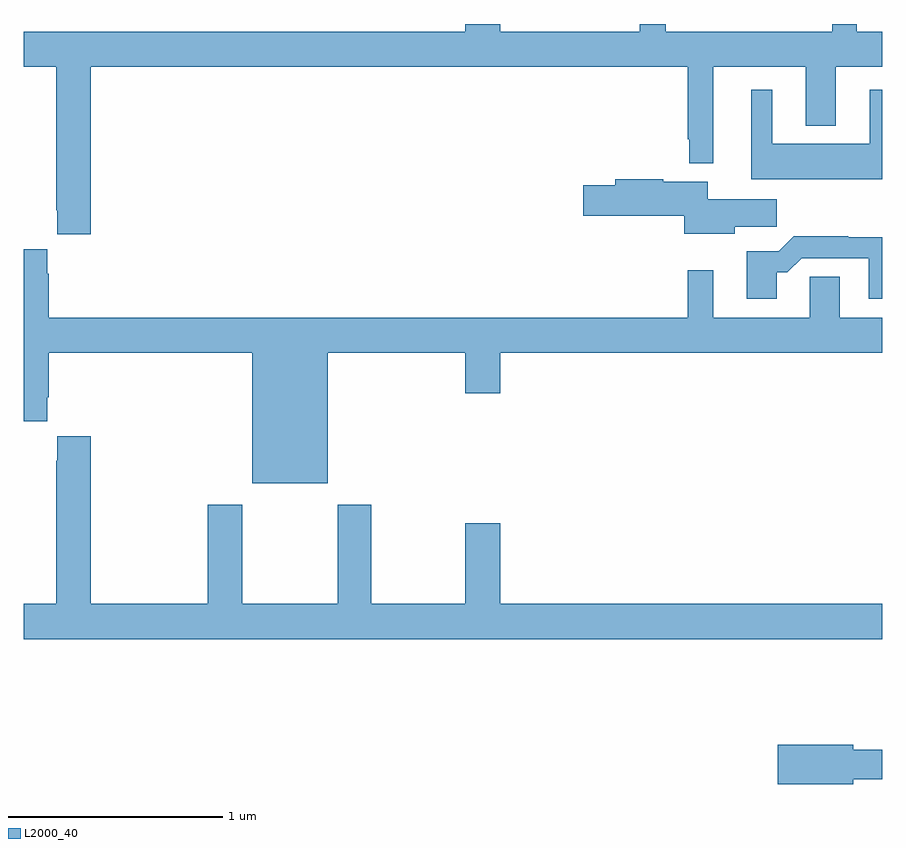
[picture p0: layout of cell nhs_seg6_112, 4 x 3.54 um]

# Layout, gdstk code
import gdstk
lib = gdstk.Library(unit=1e-6, precision=1e-09)
def P(c, l, *ps):  # polygons
    for p in ps: c.add(gdstk.Polygon(p, *l))
L2000_40 = (2000, 40)

nhs_seg6_112 = lib.new_cell('nhs_seg6_112')
P(nhs_seg6_112, L2000_40, [(115.313,983.3),(118.092,983.3),(118.092,982.963),(118.099,982.963),(118.099,982.851),(118.213,982.851),(118.213,983.3),(118.643,983.3),(118.643,983.027),(118.783,983.027),(118.783,983.3),(119,983.3),(119,983.464),(118.879,983.464),(118.879,983.5),(118.765,983.5),(118.765,983.464),(117.991,983.464),(117.991,983.5),(117.87,983.5),(117.87,983.464),(117.22,983.464),(117.22,983.5),(117.056,983.5),(117.056,983.464),(115,983.464),(115,983.3),(115.153,983.3),(115.153,982.633),(115.157,982.633),(115.157,982.521),(115.313,982.521)],
  [(119,983.194),(118.94,983.194),(118.94,982.942),(118.486,982.942),(118.486,983.194),(118.388,983.194),(118.388,982.778),(119,982.778)],
  [(118.312,982.555),(118.507,982.555),(118.507,982.684),(118.186,982.684),(118.186,982.765),(117.98,982.765),(117.98,982.778),(117.755,982.778),(117.755,982.748),(117.606,982.748),(117.606,982.606),(118.076,982.606),(118.076,982.523),(118.312,982.523)],
  [(118.507,982.343),(118.556,982.343),(118.623,982.41),(118.937,982.41),(118.937,982.221),(119,982.221),(119,982.508),(118.841,982.508),(118.841,982.511),(118.586,982.511),(118.516,982.441),(118.367,982.441),(118.367,982.221),(118.507,982.221)],
  [(116.416,981.968),(117.056,981.968),(117.056,981.78),(117.22,981.78),(117.22,981.968),(119,981.968),(119,982.132),(118.801,982.132),(118.801,982.322),(118.662,982.322),(118.662,982.132),(118.213,982.132),(118.213,982.354),(118.092,982.354),(118.092,982.132),(115.118,982.132),(115.118,982.337),(115.111,982.337),(115.111,982.45),(115,982.45),(115,981.651),(115.111,981.651),(115.111,981.763),(115.118,981.763),(115.118,981.968),(116.066,981.968),(116.066,981.362),(116.416,981.362)],
  [(119,980.8),(117.22,980.8),(117.22,981.175),(117.056,981.175),(117.056,980.8),(116.619,980.8),(116.619,981.262),(116.464,981.262),(116.464,980.8),(116.019,980.8),(116.019,981.262),(115.859,981.262),(115.859,980.8),(115.313,980.8),(115.313,981.58),(115.157,981.58),(115.157,981.467),(115.153,981.467),(115.153,980.8),(115,980.8),(115,980.636),(119,980.636)],
  [(118.864,979.984),(119,979.984),(119,980.12),(118.864,980.12),(118.864,980.144),(118.512,980.144),(118.512,979.961),(118.864,979.961)])

lib.write_gds('nhs_seg6_112.gds')
